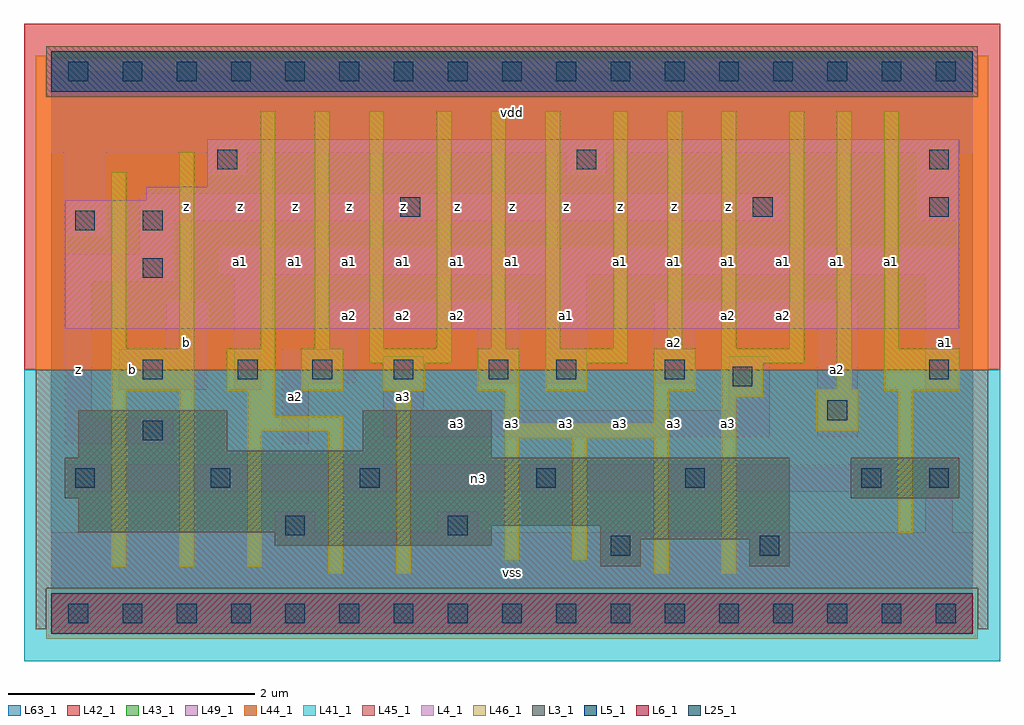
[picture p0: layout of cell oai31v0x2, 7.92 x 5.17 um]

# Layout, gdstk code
import gdstk
lib = gdstk.Library(unit=1e-6, precision=1e-09)
def R(c, l, rs):  # rectangles x0, y0, x1, y1
    for r in rs: c.add(gdstk.rectangle(r[:2], r[2:], *l))
def A(c, l, x, y, w, h, nx, ny, dx, dy):  # array of equal rectangles
    R(c, l, [(x+i*dx, y+j*dy, x+i*dx+w, y+j*dy+h) for i in range(nx) for j in range(ny)])
L3_1 = (3, 1)
L4_1 = (4, 1)
L5_1 = (5, 1)
L6_1 = (6, 1)
L25_1 = (25, 1)
L41_1 = (41, 1)
L42_1 = (42, 1)
L43_1 = (43, 1)
L44_1 = (44, 1)
L45_1 = (45, 1)
L46_1 = (46, 1)
L49_1 = (49, 1)
L63_1 = (63, 1)

oai31v0x2 = lib.new_cell('oai31v0x2')
R(oai31v0x2, L3_1, [(4.455,0.385,4.785,0.605), (5.665,0.385,5.995,0.605), (1.815,0.55,3.575,0.66), (4.455,0.605,5.995,0.715), (0.22,0.66,3.575,0.715), (0.22,0.715,5.995,0.935), (0.11,0.935,5.995,1.265), (6.49,0.935,7.37,1.265), (0.22,1.265,3.575,1.32), (0.22,1.32,1.43,1.65), (2.53,1.32,3.575,1.65)])
R(oai31v0x2, L4_1, [(0.11,2.31,7.37,3.355), (0.77,3.355,7.37,3.465), (1.265,3.465,7.37,3.85)])
R(oai31v0x2, L5_1, [(0,4.235,7.48,4.565)])
R(oai31v0x2, L6_1, [(0,-0.165,7.48,0.165)])
A(oai31v0x2, L25_1, 0.14, -0.08, 0.16, 0.16, 17, 2, 0.44, 4.4)
R(oai31v0x2, L25_1, [(4.54,0.47,4.7,0.63), (5.75,0.47,5.91,0.63), (1.9,0.635,2.06,0.795), (3.22,0.635,3.38,0.795), (0.195,1.02,0.355,1.18), (1.295,1.02,1.455,1.18), (2.505,1.02,2.665,1.18), (3.935,1.02,4.095,1.18), (5.145,1.02,5.305,1.18), (6.575,1.02,6.735,1.18), (7.125,1.02,7.285,1.18), (0.745,1.405,0.905,1.565), (6.3,1.57,6.46,1.73), (5.53,1.845,5.69,2.005), (0.745,1.9,0.905,2.06), (1.515,1.9,1.675,2.06), (2.12,1.9,2.28,2.06), (2.78,1.9,2.94,2.06), (3.55,1.9,3.71,2.06), (4.1,1.9,4.26,2.06), (4.98,1.9,5.14,2.06), (7.125,1.9,7.285,2.06), (0.745,2.725,0.905,2.885), (0.195,3.11,0.355,3.27), (0.745,3.11,0.905,3.27), (2.835,3.22,2.995,3.38), (5.695,3.22,5.855,3.38), (7.125,3.22,7.285,3.38), (1.35,3.605,1.51,3.765), (4.265,3.605,4.425,3.765), (7.125,3.605,7.285,3.765)])
R(oai31v0x2, L41_1, [(-0.22,-0.385,7.7,1.98)])
R(oai31v0x2, L42_1, [(-0.22,1.98,7.7,4.785)])
R(oai31v0x2, L43_1, [(0,-0.165,7.48,0.165), (4.455,0.385,4.785,0.605), (5.665,0.385,5.995,0.605), (1.815,0.55,3.575,0.66), (4.455,0.605,5.995,0.715), (0.22,0.66,3.575,0.715), (0.22,0.715,5.995,0.935), (0.11,0.935,5.995,1.265), (6.49,0.935,7.37,1.265), (0.22,1.265,3.575,1.32), (0.22,1.32,1.43,1.65), (2.53,1.32,3.575,1.65), (0.11,2.31,7.37,3.355), (0.77,3.355,7.37,3.465), (1.265,3.465,7.37,3.85), (0,4.235,7.48,4.565)])
R(oai31v0x2, L44_1, [(-0.04,-0.205,7.52,0.205), (-0.125,1.98,7.605,4.195), (-0.125,4.195,-0.04,4.525), (7.52,4.195,7.605,4.525)])
R(oai31v0x2, L45_1, [(-0.125,-0.125,-0.04,0.205), (7.52,-0.125,7.605,0.205), (-0.125,0.205,7.605,1.98), (-0.04,4.195,7.52,4.605)])
A(oai31v0x2, L46_1, 2.03, 1.81, 0.34, 0.34, 3, 1, 1.43, 0)
A(oai31v0x2, L46_1, 2.58, 2.03, 0.67, 0.12, 3, 1, 1.43, 0)
A(oai31v0x2, L46_1, 1.7, 2.15, 0.12, 1.925, 3, 1, 0.44, 0)
A(oai31v0x2, L46_1, 3.13, 2.15, 0.12, 1.925, 3, 1, 0.44, 0)
A(oai31v0x2, L46_1, 4.56, 2.15, 0.12, 1.925, 3, 1, 0.44, 0)
R(oai31v0x2, L46_1, [(2.25,0.325,2.37,1.48), (2.8,0.325,2.92,1.81), (4.89,0.325,5.01,1.425), (5.44,0.325,5.56,1.755), (0.49,0.38,0.61,1.81), (1.04,0.38,1.16,1.81), (1.59,0.38,1.71,1.48), (3.68,0.435,3.8,1.425), (4.23,0.435,4.35,1.425), (6.87,0.655,6.99,1.81), (3.68,1.425,5.01,1.545), (1.59,1.48,2.37,1.6), (6.21,1.48,6.55,1.82), (3.68,1.545,3.8,1.81), (4.89,1.545,5.01,1.81), (1.59,1.6,1.82,1.81), (5.44,1.755,5.78,2.03), (0.49,1.81,1.16,2.15), (1.425,1.81,1.82,2.15), (2.69,1.81,3.03,2.03), (4.01,1.81,4.35,2.03), (6.76,1.81,7.375,2.15), (6.375,1.82,6.495,4.075), (0.49,2.15,0.61,3.58), (1.04,2.15,1.16,3.745), (5.99,2.15,6.11,4.075), (6.76,2.15,6.88,4.075)])
R(oai31v0x2, L49_1, [(0,-0.11,7.48,0.66), (1.815,0.66,2.145,0.825), (3.135,0.66,3.465,0.825), (7.095,0.66,7.315,1.265), (0.11,0.99,6.82,1.21), (0.11,1.375,0.99,1.595), (1.87,1.375,2.09,1.87), (2.695,1.43,5.83,1.65), (6.215,1.43,6.545,2.31), (0.11,1.595,0.33,2.695), (2.695,1.65,3.025,2.09), (5.5,1.65,5.83,2.09), (0.55,1.815,1.265,2.145), (1.485,1.815,1.705,2.75), (7.095,1.815,7.37,2.75), (1.87,1.87,2.475,2.145), (3.465,1.87,3.795,2.31), (4.015,1.87,4.345,2.75), (4.895,1.87,5.225,2.31), (0.935,2.145,1.265,2.53), (2.255,2.145,2.475,2.31), (2.255,2.31,3.795,2.53), (4.895,2.31,6.545,2.53), (0.11,2.695,0.99,2.915), (1.375,2.75,7.37,2.97), (0.715,2.915,0.99,3.19), (0.11,3.08,0.44,3.74), (0.715,3.19,5.94,3.41), (7.04,3.19,7.37,3.74), (1.265,3.575,1.595,3.74), (4.18,3.575,4.51,3.74), (0,3.74,7.48,4.51)])
R(oai31v0x2, L63_1, [(0,0,7.48,4.4)])
oai31v0x2.add(gdstk.Label('b', (0.66,1.98), layer=49, texttype=1))
oai31v0x2.add(gdstk.Label('z', (0.22,1.98), layer=49, texttype=1))
oai31v0x2.add(gdstk.Label('a2', (1.98,1.76), layer=49, texttype=1))
oai31v0x2.add(gdstk.Label('b', (1.1,2.2), layer=49, texttype=1))
oai31v0x2.add(gdstk.Label('a1', (1.54,2.86), layer=49, texttype=1))
oai31v0x2.add(gdstk.Label('a1', (1.98,2.86), layer=49, texttype=1))
oai31v0x2.add(gdstk.Label('z', (1.1,3.3), layer=49, texttype=1))
oai31v0x2.add(gdstk.Label('z', (1.98,3.3), layer=49, texttype=1))
oai31v0x2.add(gdstk.Label('z', (1.54,3.3), layer=49, texttype=1))
oai31v0x2.add(gdstk.Label('a3', (3.3,1.54), layer=49, texttype=1))
oai31v0x2.add(gdstk.Label('a3', (2.86,1.76), layer=49, texttype=1))
oai31v0x2.add(gdstk.Label('a2', (2.86,2.42), layer=49, texttype=1))
oai31v0x2.add(gdstk.Label('a2', (3.3,2.42), layer=49, texttype=1))
oai31v0x2.add(gdstk.Label('a2', (2.42,2.42), layer=49, texttype=1))
oai31v0x2.add(gdstk.Label('a1', (2.42,2.86), layer=49, texttype=1))
oai31v0x2.add(gdstk.Label('a1', (2.86,2.86), layer=49, texttype=1))
oai31v0x2.add(gdstk.Label('a1', (3.3,2.86), layer=49, texttype=1))
oai31v0x2.add(gdstk.Label('z', (2.42,3.3), layer=49, texttype=1))
oai31v0x2.add(gdstk.Label('z', (3.3,3.3), layer=49, texttype=1))
oai31v0x2.add(gdstk.Label('z', (2.86,3.3), layer=49, texttype=1))
oai31v0x2.add(gdstk.Label('vss', (3.74,0.33), layer=49, texttype=1))
oai31v0x2.add(gdstk.Label('a3', (4.18,1.54), layer=49, texttype=1))
oai31v0x2.add(gdstk.Label('a3', (4.62,1.54), layer=49, texttype=1))
oai31v0x2.add(gdstk.Label('a3', (3.74,1.54), layer=49, texttype=1))
oai31v0x2.add(gdstk.Label('a1', (4.18,2.42), layer=49, texttype=1))
oai31v0x2.add(gdstk.Label('a1', (3.74,2.86), layer=49, texttype=1))
oai31v0x2.add(gdstk.Label('a1', (4.62,2.86), layer=49, texttype=1))
oai31v0x2.add(gdstk.Label('z', (3.74,3.3), layer=49, texttype=1))
oai31v0x2.add(gdstk.Label('z', (4.62,3.3), layer=49, texttype=1))
oai31v0x2.add(gdstk.Label('z', (4.18,3.3), layer=49, texttype=1))
oai31v0x2.add(gdstk.Label('vdd', (3.74,4.07), layer=49, texttype=1))
oai31v0x2.add(gdstk.Label('a3', (5.5,1.54), layer=49, texttype=1))
oai31v0x2.add(gdstk.Label('a3', (5.06,1.54), layer=49, texttype=1))
oai31v0x2.add(gdstk.Label('a2', (5.94,2.42), layer=49, texttype=1))
oai31v0x2.add(gdstk.Label('a2', (5.5,2.42), layer=49, texttype=1))
oai31v0x2.add(gdstk.Label('a2', (5.06,2.2), layer=49, texttype=1))
oai31v0x2.add(gdstk.Label('a1', (5.06,2.86), layer=49, texttype=1))
oai31v0x2.add(gdstk.Label('a1', (5.94,2.86), layer=49, texttype=1))
oai31v0x2.add(gdstk.Label('a1', (5.5,2.86), layer=49, texttype=1))
oai31v0x2.add(gdstk.Label('z', (5.06,3.3), layer=49, texttype=1))
oai31v0x2.add(gdstk.Label('z', (5.5,3.3), layer=49, texttype=1))
oai31v0x2.add(gdstk.Label('n3', (3.465,1.1), layer=49, texttype=1))
oai31v0x2.add(gdstk.Label('a2', (6.38,1.98), layer=49, texttype=1))
oai31v0x2.add(gdstk.Label('a1', (7.26,2.2), layer=49, texttype=1))
oai31v0x2.add(gdstk.Label('a1', (6.38,2.86), layer=49, texttype=1))
oai31v0x2.add(gdstk.Label('a1', (6.82,2.86), layer=49, texttype=1))

lib.write_gds('oai31v0x2.gds')
